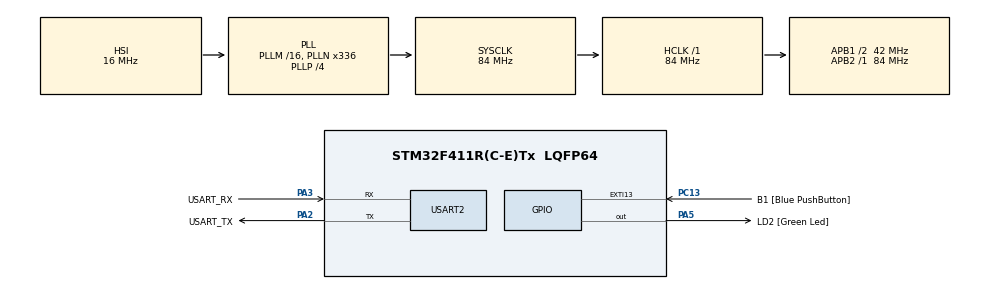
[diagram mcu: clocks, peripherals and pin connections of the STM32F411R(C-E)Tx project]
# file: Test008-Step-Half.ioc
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Mcu.Family=STM32F4
Mcu.Name=STM32F411R(C-E)Tx
Mcu.Package=LQFP64
NVIC.PriorityGroup=NVIC_PRIORITYGROUP_0
PA13.GPIO_Label=TMS
PA13.Mode=Serial_Wire
PA13.Signal=SYS_JTMS-SWDIO
PA14.GPIO_Label=TCK
PA14.Mode=Serial_Wire
PA14.Signal=SYS_JTCK-SWCLK
PA2.GPIO_Label=USART_TX
PA2.Mode=Asynchronous
PA2.Signal=USART2_TX
PA3.GPIO_Label=USART_RX
PA3.Mode=Asynchronous
PA3.Signal=USART2_RX
PA5.GPIO_Label=LD2 [Green Led]
PA5.Signal=GPIO_Output
PB3.GPIO_Label=SWO
PB3.Signal=SYS_JTDO-SWO
PC13-ANTI_TAMP.GPIO_Label=B1 [Blue PushButton]
PC13-ANTI_TAMP.GPIO_ModeDefaultEXTI=GPIO_MODE_IT_FALLING
PC13-ANTI_TAMP.Signal=GPXTI13
PC14-OSC32_IN.Mode=LSE-External-Oscillator
PC14-OSC32_IN.Signal=RCC_OSC32_IN
PC15-OSC32_OUT.Mode=LSE-External-Oscillator
PC15-OSC32_OUT.Signal=RCC_OSC32_OUT
PH0\ -\ OSC_IN.Mode=HSE-External-Clock-Source
PH0\ -\ OSC_IN.Signal=RCC_OSC_IN
PH1\ -\ OSC_OUT.Mode=HSE-External-Clock-Source
PH1\ -\ OSC_OUT.Signal=RCC_OSC_OUT
ProjectManager.HeapSize=0x200
ProjectManager.StackSize=0x400
ProjectManager.TargetToolchain=STM32CubeIDE
RCC.48MHZClocksFreq_Value=84000000
RCC.AHBFreq_Value=84000000
RCC.APB1CLKDivider=RCC_HCLK_DIV2
RCC.APB1Freq_Value=42000000
RCC.APB1TimFreq_Value=84000000
RCC.APB2Freq_Value=84000000
RCC.APB2TimFreq_Value=84000000
RCC.CortexFreq_Value=84000000
RCC.FLatency-AdvancedSettings=FLASH_LATENCY_2
RCC.HCLKFreq_Value=84000000
RCC.HSE_VALUE=8000000
RCC.HSI_VALUE=16000000
RCC.PLLN=336
RCC.PLLP=RCC_PLLP_DIV4
RCC.SYSCLKFreq_VALUE=84000000
RCC.SYSCLKSource=RCC_SYSCLKSOURCE_PLLCLK
RCC.VCOOutputFreq_Value=336000000
USART2.VirtualMode=VM_ASYNC
board=NUCLEO-F411RE

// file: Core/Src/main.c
/* USER CODE BEGIN Header */
/**
  ******************************************************************************
  * @file           : main.c
  * @brief          : Main program body
  ******************************************************************************
  * @attention
  *
  * Copyright (c) 2025 STMicroelectronics.
  * All rights reserved.
  *
  * This software is licensed under terms that can be found in the LICENSE file
  * in the root directory of this software component.
  * If no LICENSE file comes with this software, it is provided AS-IS.
  *
  ******************************************************************************
  */
/* USER CODE END Header */
#include "main.h"

UART_HandleTypeDef huart2;

void SystemClock_Config(void);
static void MX_GPIO_Init(void);
static void MX_USART2_UART_Init(void);

/* USER CODE BEGIN 0 */
void step_half(int step)
{
   switch(step)
   {
   case 1: // step 1
        HAL_GPIO_WritePin(D3_GPIO_Port, D3_Pin, 1);
        HAL_GPIO_WritePin(D4_GPIO_Port, D4_Pin, 0);
        HAL_GPIO_WritePin(D5_GPIO_Port, D5_Pin, 0);
        HAL_GPIO_WritePin(D6_GPIO_Port, D6_Pin, 0);
        break;
   case 2: // step 2
        HAL_GPIO_WritePin(D3_GPIO_Port, D3_Pin, 1);
        HAL_GPIO_WritePin(D4_GPIO_Port, D4_Pin, 1);
        HAL_GPIO_WritePin(D5_GPIO_Port, D5_Pin, 0);
        HAL_GPIO_WritePin(D6_GPIO_Port, D6_Pin, 0);
        break;
   case 3: // step 3
        HAL_GPIO_WritePin(D3_GPIO_Port, D3_Pin, 0);
        HAL_GPIO_WritePin(D4_GPIO_Port, D4_Pin, 1);
        HAL_GPIO_WritePin(D5_GPIO_Port, D5_Pin, 0);
        HAL_GPIO_WritePin(D6_GPIO_Port, D6_Pin, 0);
        break;
   case 4: // step 4
        HAL_GPIO_WritePin(D3_GPIO_Port, D3_Pin, 0);
        HAL_GPIO_WritePin(D4_GPIO_Port, D4_Pin, 1);
        HAL_GPIO_WritePin(D5_GPIO_Port, D5_Pin, 1);
        HAL_GPIO_WritePin(D6_GPIO_Port, D6_Pin, 0);
        break;
   case 5: // step 5
           HAL_GPIO_WritePin(D3_GPIO_Port, D3_Pin, 0);
           HAL_GPIO_WritePin(D4_GPIO_Port, D4_Pin, 0);
           HAL_GPIO_WritePin(D5_GPIO_Port, D5_Pin, 1);
           HAL_GPIO_WritePin(D6_GPIO_Port, D6_Pin, 0);
           break;
   case 6: // step 6
           HAL_GPIO_WritePin(D3_GPIO_Port, D3_Pin, 0);
           HAL_GPIO_WritePin(D4_GPIO_Port, D4_Pin, 0);
           HAL_GPIO_WritePin(D5_GPIO_Port, D5_Pin, 1);
           HAL_GPIO_WritePin(D6_GPIO_Port, D6_Pin, 1);
           break;
   case 7: // step 7
           HAL_GPIO_WritePin(D3_GPIO_Port, D3_Pin, 0);
           HAL_GPIO_WritePin(D4_GPIO_Port, D4_Pin, 0);
           HAL_GPIO_WritePin(D5_GPIO_Port, D5_Pin, 0);
           HAL_GPIO_WritePin(D6_GPIO_Port, D6_Pin, 1);
           break;
   case 8: // step 8
           HAL_GPIO_WritePin(D3_GPIO_Port, D3_Pin, 1);
           HAL_GPIO_WritePin(D4_GPIO_Port, D4_Pin, 0);
           HAL_GPIO_WritePin(D5_GPIO_Port, D5_Pin, 0);
           HAL_GPIO_WritePin(D6_GPIO_Port, D6_Pin, 1);
           break;
   }
}
/* USER CODE END 0 */

int main(void)
{

  /* MCU Configuration--------------------------------------------------------*/

  /* Reset of all peripherals, Initializes the Flash interface and the Systick. */
  HAL_Init();

  /* Configure the system clock */
  SystemClock_Config();

  /* Initialize all configured peripherals */
  MX_GPIO_Init();
  MX_USART2_UART_Init();

  /* Infinite loop */
  /* USER CODE BEGIN WHILE */
  while (1)
  {
	  /* USER CODE BEGIN WHILE */

	   while (1)
	   {
	      for(int i = 0; i < 4096; i++)
	      {
	         step_half((i % 8) + 1); // para que salga el numero 1,2,3,4
	         HAL_Delay(1);
	      }
	     /* USER CODE END WHILE */

	   }
	 }

void SystemClock_Config(void)
{
  RCC_OscInitTypeDef RCC_OscInitStruct = {0};
  RCC_ClkInitTypeDef RCC_ClkInitStruct = {0};

  /** Configure the main internal regulator output voltage
  */
  __HAL_RCC_PWR_CLK_ENABLE();
  __HAL_PWR_VOLTAGESCALING_CONFIG(PWR_REGULATOR_VOLTAGE_SCALE1);

  /** Initializes the RCC Oscillators according to the specified parameters
  * in the RCC_OscInitTypeDef structure.
  */
  RCC_OscInitStruct.OscillatorType = RCC_OSCILLATORTYPE_HSI;
  RCC_OscInitStruct.HSIState = RCC_HSI_ON;
  RCC_OscInitStruct.HSICalibrationValue = RCC_HSICALIBRATION_DEFAULT;
  RCC_OscInitStruct.PLL.PLLState = RCC_PLL_ON;
  RCC_OscInitStruct.PLL.PLLSource = RCC_PLLSOURCE_HSI;
  RCC_OscInitStruct.PLL.PLLM = 16;
  RCC_OscInitStruct.PLL.PLLN = 336;
  RCC_OscInitStruct.PLL.PLLP = RCC_PLLP_DIV4;
  RCC_OscInitStruct.PLL.PLLQ = 4;
  if (HAL_RCC_OscConfig(&RCC_OscInitStruct) != HAL_OK)
  {
    Error_Handler();
  }

  /** Initializes the CPU, AHB and APB buses clocks
  */
  RCC_ClkInitStruct.ClockType = RCC_CLOCKTYPE_HCLK|RCC_CLOCKTYPE_SYSCLK
                              |RCC_CLOCKTYPE_PCLK1|RCC_CLOCKTYPE_PCLK2;
  RCC_ClkInitStruct.SYSCLKSource = RCC_SYSCLKSOURCE_PLLCLK;
  RCC_ClkInitStruct.AHBCLKDivider = RCC_SYSCLK_DIV1;
  RCC_ClkInitStruct.APB1CLKDivider = RCC_HCLK_DIV2;
  RCC_ClkInitStruct.APB2CLKDivider = RCC_HCLK_DIV1;

  if (HAL_RCC_ClockConfig(&RCC_ClkInitStruct, FLASH_LATENCY_2) != HAL_OK)
  {
    Error_Handler();
  }
}

static void MX_USART2_UART_Init(void)
{

  huart2.Instance = USART2;
  huart2.Init.BaudRate = 115200;
  huart2.Init.WordLength = UART_WORDLENGTH_8B;
  huart2.Init.StopBits = UART_STOPBITS_1;
  huart2.Init.Parity = UART_PARITY_NONE;
  huart2.Init.Mode = UART_MODE_TX_RX;
  huart2.Init.HwFlowCtl = UART_HWCONTROL_NONE;
  huart2.Init.OverSampling = UART_OVERSAMPLING_16;
  if (HAL_UART_Init(&huart2) != HAL_OK)
  {
    Error_Handler();
  }

}

static void MX_GPIO_Init(void)
{
  GPIO_InitTypeDef GPIO_InitStruct = {0};

  /* GPIO Ports Clock Enable */
  __HAL_RCC_GPIOC_CLK_ENABLE();
  __HAL_RCC_GPIOH_CLK_ENABLE();
  __HAL_RCC_GPIOA_CLK_ENABLE();
  __HAL_RCC_GPIOB_CLK_ENABLE();

  /*Configure GPIO pin Output Level */
  HAL_GPIO_WritePin(LD2_GPIO_Port, LD2_Pin, GPIO_PIN_RESET);

  /*Configure GPIO pin : B1_Pin */
  GPIO_InitStruct.Pin = B1_Pin;
  GPIO_InitStruct.Mode = GPIO_MODE_IT_FALLING;
  GPIO_InitStruct.Pull = GPIO_NOPULL;
  HAL_GPIO_Init(B1_GPIO_Port, &GPIO_InitStruct);

  /*Configure GPIO pin : LD2_Pin */
  GPIO_InitStruct.Pin = LD2_Pin;
  GPIO_InitStruct.Mode = GPIO_MODE_OUTPUT_PP;
  GPIO_InitStruct.Pull = GPIO_NOPULL;
  GPIO_InitStruct.Speed = GPIO_SPEED_FREQ_LOW;
  HAL_GPIO_Init(LD2_GPIO_Port, &GPIO_InitStruct);

}

void Error_Handler(void)
{
  __disable_irq();
  while (1)
  {
  }
}
